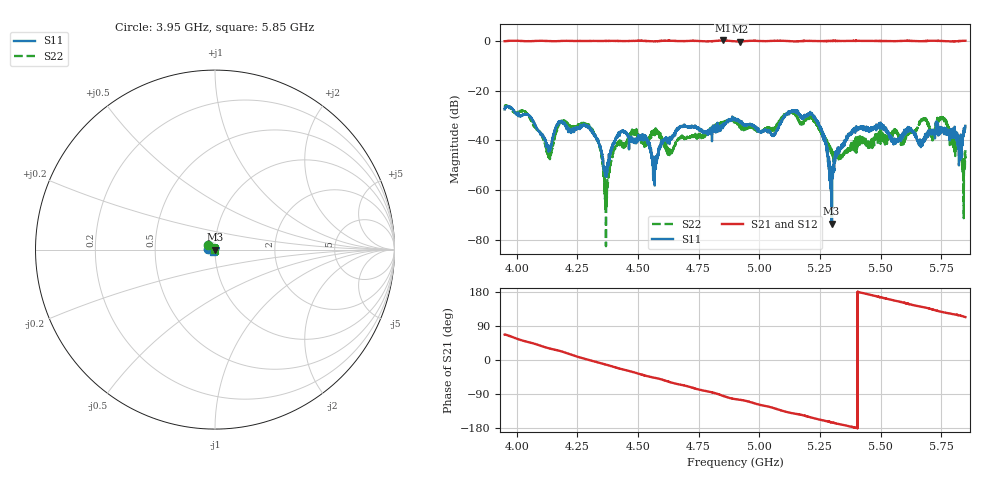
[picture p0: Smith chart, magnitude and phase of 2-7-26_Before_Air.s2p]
# GHZ S RI R 50.000000000000
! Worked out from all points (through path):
!   4501 points, 3.95 GHz to 5.85 GHz, reference 50 ohm
!   highest |S21| = 0.11 dB at 4.851 GHz (marker M1); lowest = -0.3 dB at 4.92 GHz (marker M2)
!   group delay of S21, straight-line fit = 453 ps
!   lowest |S11| = -73.4 dB at 5.298 GHz (marker M3), VSWR 1.00, Z = 50 - j0.0157 ohm
!   |S11| at or under -10 dB: start of sweep to end of sweep
!   |S22| runs from -82.4 to -25.9 dB; largest |S21 - S12| = 0.049
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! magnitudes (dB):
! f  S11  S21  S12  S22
! 3.95 GHz  -27.6  -0.2  -0.2  -26.6
! 4.041 GHz  -29.5  -0.2  -0.1  -29.2
! 4.132 GHz  -44.0  -0.1  -0.1  -46.3
! 4.181 GHz  -32.4  -0.1  -0.1  -32.8
! 4.267 GHz  -34.8  -0.1  -0.1  -33.5
! 4.334 GHz  -40.1  -0.1  -0.1  -40.3
! 4.369 GHz  -54.6  0.0  -0.1  -66.7
! 4.415 GHz  -38.0  -0.1  -0.1  -41.9
! 4.584 GHz  -45.2  -0.1  -0.2  -37.2
! 4.632 GHz  -39.4  0.0  0.0  -44.8
! 4.851 GHz  -34.0  0.1  0.1  -32.7
! 4.9 GHz  -31.1  -0.2  -0.2  -32.0
! 4.92 GHz  -32.4  -0.3  -0.3  -34.1
! 5.057 GHz  -37.9  0.0  -0.1  -35.5
! 5.217 GHz  -29.2  -0.1  -0.1  -30.8
! 5.266 GHz  -40.2  -0.1  -0.1  -39.0
! 5.298 GHz  -73.4  -0.1  -0.1  -44.4
! 5.389 GHz  -36.3  -0.1  0.0  -42.3
! 5.534 GHz  -37.3  -0.1  -0.1  -39.2
! 5.755 GHz  -36.3  -0.1  -0.1  -30.7
! 5.828 GHz  -47.7  -0.1  -0.1  -40.7
! 5.85 GHz  -34.1  0.0  0.0  -43.9
